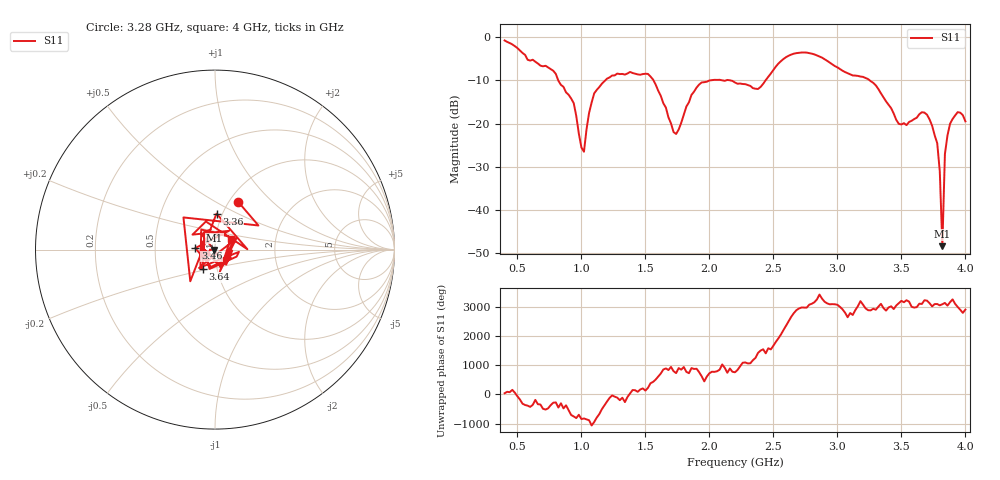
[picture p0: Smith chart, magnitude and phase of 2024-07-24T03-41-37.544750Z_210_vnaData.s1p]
!Created with skrf (http://scikit-rf.org).
# Hz S RI R 50.0
!freq ReS11 ImS11
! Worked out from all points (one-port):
!   181 points, 400 MHz to 4 GHz, reference 50 ohm
!   lowest |S11| = -48.3 dB at 3.82 GHz (marker M1), VSWR 1.01, Z = 49.7 - j0.235 ohm
!   |S11| at or under -10 dB: 818.8 MHz to 1.187 GHz (368.2 MHz wide, 36.7 % of centre); 1.563 GHz to 2.011 GHz (447.7 MHz wide, 25.1 % of centre); 3.252 GHz to end of sweep (the widest 3 of 5)
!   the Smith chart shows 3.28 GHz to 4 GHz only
!   S11 on the Smith chart (normalised r, x): 3.28 GHz: 1.10, +0.64; 3.36 GHz: 0.94, +0.39; 3.46 GHz: 0.80, +0.01; 3.64 GHz: 0.85, -0.19; 4 GHz: 1.18, +0.14
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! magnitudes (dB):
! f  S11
! 400 MHz  -0.8
! 860 MHz  -11.5
! 940 MHz  -15.3
! 1.02 GHz  -26.5
! 1.06 GHz  -17.5
! 1.1 GHz  -13.0
! 1.3 GHz  -8.6
! 1.52 GHz  -8.5
! 1.72 GHz  -22.0
! 1.76 GHz  -21.4
! 1.92 GHz  -11.0
! 2.2 GHz  -10.5
! 2.38 GHz  -12.0
! 2.66 GHz  -3.8
! 3.1 GHz  -8.6
! 3.28 GHz  -10.6
! 3.36 GHz  -13.9
! 3.46 GHz  -19.2
! 3.56 GHz  -19.6
! 3.64 GHz  -17.8
! 3.7 GHz  -17.9
! 3.78 GHz  -24.5
! 3.8 GHz  -31.1
! 3.82 GHz  -48.3
! 3.84 GHz  -27.0
! 3.86 GHz  -22.8
! 3.94 GHz  -17.4
! 4 GHz  -19.5
